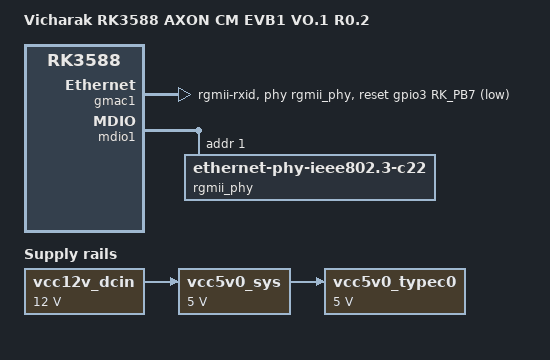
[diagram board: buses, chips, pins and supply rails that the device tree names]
// SPDX-License-Identifier: (GPL-2.0+ OR MIT)
/*
 * Copyright (c) 2023 Vicharak India
 *
 */

/dts-v1/;
#include "rk3588.dtsi"
#include "rk3588-axon-cm-u-boot.dtsi"
#include <dt-bindings/input/input.h>

/ {
	model = "Vicharak RK3588 AXON CM EVB1 VO.1 R0.2";
	compatible = "vicharak,rk3588-axon-cm-evb1", "rockchip,rk3588";

	// Regulators: {{{
	vcc12v_dcin: vcc12v-dcin {
		u-boot,dm-pre-reloc;
		compatible = "regulator-fixed";
		regulator-name = "vcc12v_dcin";
		regulator-always-on;
		regulator-boot-on;
		regulator-min-microvolt = <12000000>;
		regulator-max-microvolt = <12000000>;
	};

	vcc5v0_sys: vcc5v0-sys {
		u-boot,dm-pre-reloc;
		compatible = "regulator-fixed";
		regulator-name = "vcc5v0_sys";
		regulator-always-on;
		regulator-boot-on;
		regulator-min-microvolt = <5000000>;
		regulator-max-microvolt = <5000000>;
		vin-supply = <&vcc12v_dcin>;
	};

	vcc5v0_typec0: vcc5v0-typec0-regulator {
		u-boot,dm-pre-reloc;
		compatible = "regulator-fixed";
		regulator-name = "vcc5v0_typec0";
		regulator-min-microvolt = <5000000>;
		regulator-max-microvolt = <5000000>;
		enable-active-high;
		vin-supply = <&vcc5v0_sys>;
	};
	// End of Regulators }}}
};

// ethernet@fe1c0000 : GMAC1 {{{
&gmac1 {
       clock_in_out = "output";
       phy-handle = <&rgmii_phy>;
       phy-mode = "rgmii-rxid";
       // phy-supply = <&vcc_3v3_s3>;
       pinctrl-0 = <&gmac1_rgmii_bus
                               &gmac1_rgmii_clk
                               &gmac1_rx_bus2
                               &gmac1_tx_bus2
                               &gmac1_miim>;
       pinctrl-names = "default";
       snps,reset-active-low;
       snps,reset-delays-us = <0 20000 100000>;
       snps,reset-gpio = <&gpio3 RK_PB7 GPIO_ACTIVE_LOW>;
       rx_delay = <0x00>;
       tx_delay = <0x43>;
       status = "okay";
};
// End of ethernet@fe1c0000 : GMAC1 }}}

&mdio1 {
       rgmii_phy: phy@1 {
               compatible = "ethernet-phy-ieee802.3-c22";
               reg = <0x1>;
       };
};
